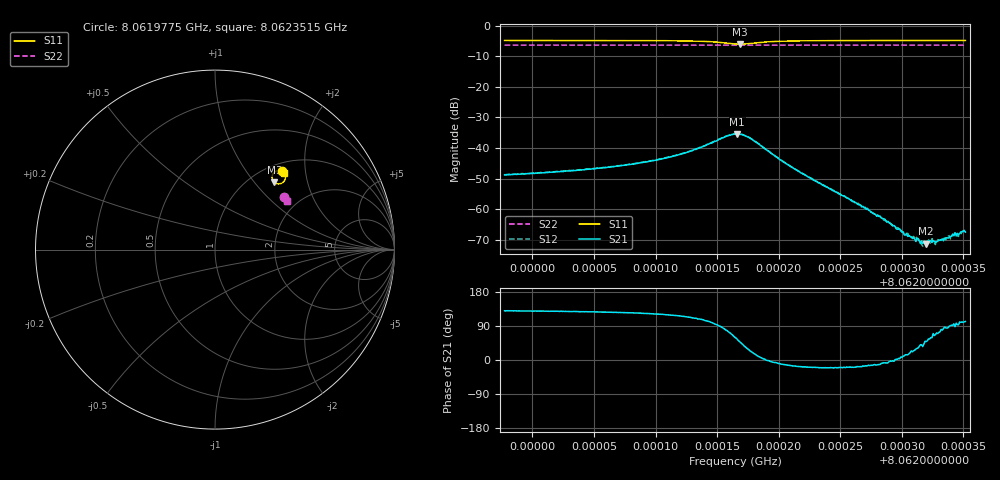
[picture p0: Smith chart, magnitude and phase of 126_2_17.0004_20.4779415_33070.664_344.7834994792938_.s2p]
#  HZ  S  RI  R  50.00
! Rohde & Schwarz Vector Network Analyzer
! Rohde-Schwarz,ZNB20-2Port,1311601062101988,3.16
! Created: UTC 3/20/2024, 10:57:45 PM
! freq[Hz]  re:S11  im:S11  re:S21  im:S21  re:S12  im:S12  re:S22  im:S22
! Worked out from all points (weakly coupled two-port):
!   401 points, 8.0619775 GHz to 8.0623515 GHz, reference 50 ohm
!   highest |S21| = -35.39 dB at 8.0621664 GHz (marker M1); lowest = -71.3 dB at 8.0623197 GHz (marker M2)
!   lowest |S11| = -6.0 dB at 8.0621682 GHz (marker M3), VSWR 3.00, Z = 63.8 + j63.7 ohm
!   |S11| at or under -10 dB: nowhere
!   |S22| runs from -6.4 to -6.3 dB; largest |S21 - S12| = 0.0014
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8.06197746e9  0.3749 0.4367  -0.00233 0.00279  -0.00219 0.00297  0.3865 0.2906
8.06204012e9  0.3807 0.4309  -0.0027 0.0035  -0.00245 0.00366  0.3888 0.2875
8.06210278e9  0.3885 0.419  -0.00334 0.00558  -0.00304 0.00584  0.3909 0.2838
8.06212803e9  0.3918 0.4063  -0.0034 0.00816  -0.00295 0.00847  0.3917 0.2822
8.06214954e9  0.3846 0.3807  -0.000797 0.0132  -1.14e-05 0.0134  0.3916 0.2801
8.0621645e9  0.3444 0.3675  0.00854 0.0146  0.00943 0.0143  0.3901 0.2794
8.06216637e9  0.3375 0.3703  0.00992 0.0138  0.0108 0.0132  0.3898 0.2798
8.06216824e9  0.3311 0.3746  0.0111 0.0125  0.012 0.0121  0.3898 0.2799
8.06217759e9  0.3181 0.406  0.0131 0.00533  0.0135 0.00455  0.39 0.281
8.06220659e9  0.3506 0.4398  0.00532 -0.00126  0.00526 -0.0016  0.3928 0.2805
8.06222716e9  0.3628 0.4393  0.0029 -0.00103  0.00291 -0.00124  0.394 0.2794
8.06227111e9  0.3744 0.4351  0.000954 -0.00027  0.000977 -0.000334  0.3957 0.277
8.06228982e9  0.3773 0.4334  0.000587 -3.68e-05  0.000606 -8.94e-05  0.3964 0.2761
8.06230385e9  0.3792 0.4322  0.000383 9.52e-05  0.000395 7.23e-05  0.3968 0.2754
8.06231133e9  0.3799 0.4316  0.00026 0.000143  0.000323 0.000149  0.3971 0.275
8.062316e9  0.3804 0.4313  0.000232 0.000194  0.000196 0.000178  0.3973 0.2748
8.06231975e9  0.381 0.431  0.000179 0.000203  0.000193 0.0002  0.3976 0.2746
8.06232536e9  0.3815 0.4307  0.000106 0.000287  0.000131 0.000259  0.3976 0.2743
8.06233377e9  0.3823 0.4301  3.56e-05 0.000302  4.8e-05 0.000329  0.398 0.2738
8.06234219e9  0.383 0.4294  -3.48e-05 0.000369  2.69e-06 0.000367  0.3983 0.2735
8.06234593e9  0.3836 0.4293  -1.91e-05 0.000384  -1.24e-07 0.000359  0.3983 0.2732
8.06235154e9  0.384 0.4288  -8.51e-05 0.000413  -6.81e-05 0.00043  0.3985 0.2728
